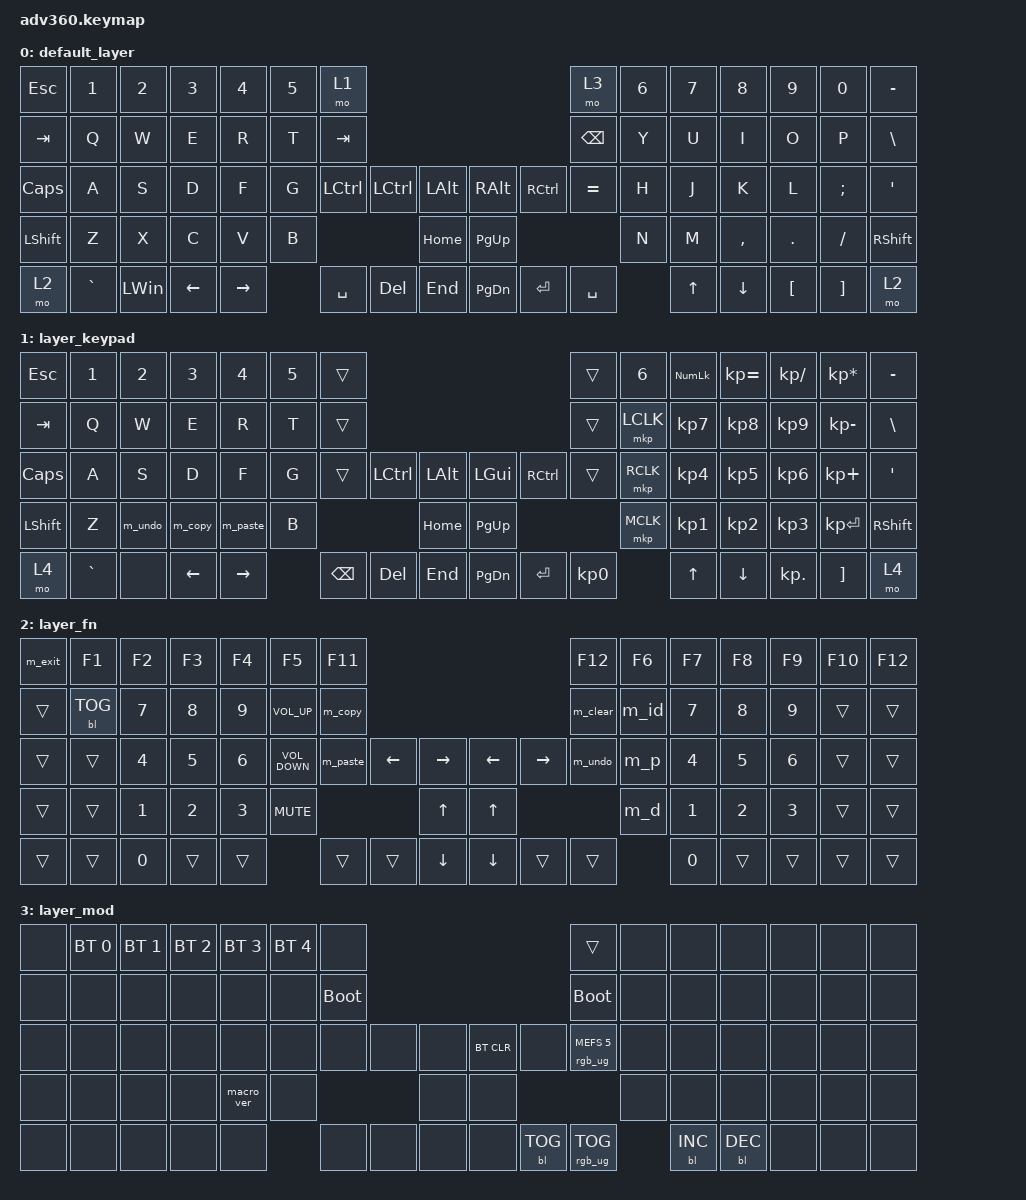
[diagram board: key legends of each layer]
/*
 * Copyright (c) 2020 The ZMK Contributors
 *
 * SPDX-License-Identifier: MIT
 */
/* THIS FILE WAS GENERATED!
 *
 * This file was generated automatically. You may or may not want to
 * edit it directly.
 */

#include <behaviors.dtsi>
#include <dt-bindings/zmk/backlight.h>
#include <dt-bindings/zmk/bt.h>
#include <dt-bindings/zmk/keys.h>
#include <dt-bindings/zmk/mouse.h>
#include <dt-bindings/zmk/rgb.h>

/ {
    behaviors {
        #include "macros.dtsi"
    #include "version.dtsi"

        hm: homerow_mods {
            compatible = "zmk,behavior-hold-tap";
            label = "HOMEROW_MODS";
            #binding-cells = <2>;
            tapping-term-ms = <200>;
            quick_tap_ms = <175>;
            flavor = "tap-preferred";
            bindings = <&kp>, <&kp>;
        };
    };

    macros {
        m_id: nitin_id {
            compatible = "zmk,behavior-macro";
            #binding-cells = <0>;
            bindings = <&none &kp E &kp N6 &kp N5 &kp N1 &kp N8 &kp N3 &kp N5>;
            label = "NITIN_ID";
        };

        m_p: nitin_p {
            compatible = "zmk,behavior-macro";
            #binding-cells = <0>;
            bindings = <&none &kp LS(S) &kp LS(S) &kp LS(M) &kp Y &kp LS(S) &kp LS(S) &kp D &kp E &kp V &kp N1 &kp PRCNT &kp N1 &kp N2>;
            label = "NITIN_P";
        };

        m_d: nitin_d {
            compatible = "zmk,behavior-macro";
            #binding-cells = <0>;
            bindings = <&none &kp N8 &kp N2 &kp N1 &kp N2 &kp N2 &kp N8>;
            label = "NITIN_D";
        };

        m_copy: nitin_copy {
            compatible = "zmk,behavior-macro";
            #binding-cells = <0>;
            bindings = <&kp LC(C)>;
            label = "NITIN_COPY";
        };

        m_paste: nitin_paste {
            compatible = "zmk,behavior-macro";
            #binding-cells = <0>;
            bindings = <&kp LC(V)>;
            label = "NITIN_PASTE";
        };

        m_clear: m_clear {
            compatible = "zmk,behavior-macro";
            #binding-cells = <0>;
            bindings = <&none &kp C &kp L &kp E &kp A &kp R &kp RET>;
            label = "M_CLEAR";
        };

        m_exit: m_exit {
            compatible = "zmk,behavior-macro";
            #binding-cells = <0>;
            bindings = <&none &kp E &kp X &kp I &kp T &kp SEMI &kp RET>;
            label = "M_EXIT";
        };

        m_undo: m_undo {
            compatible = "zmk,behavior-macro";
            #binding-cells = <0>;
            bindings = <&none>;
            label = "M_UNDO";
        };
    };

    keymap {
        compatible = "zmk,keymap";

        default_layer {
            bindings = <
&kp ESCAPE    &kp N1     &kp N2        &kp N3    &kp N4     &kp N5  &mo 1                                                                       &mo 3          &kp N6  &kp N7  &kp N8     &kp N9    &kp N0         &kp MINUS
&kp TAB       &kp Q      &kp W         &kp E     &kp R      &kp T   &kp TAB                                                                     &kp BACKSPACE  &kp Y   &kp U   &kp I      &kp O     &kp P          &kp BSLH
&kp CAPSLOCK  &kp A      &kp S         &kp D     &kp F      &kp G   &kp LEFT_CONTROL  &kp LEFT_CONTROL  &kp LALT      &kp RIGHT_ALT  &kp RCTRL  &kp EQUAL      &kp H   &kp J   &kp K      &kp L     &kp SEMICOLON  &kp SQT
&kp LSHFT     &kp Z      &kp X         &kp C     &kp V      &kp B                                       &kp HOME      &kp PG_UP                                &kp N   &kp M   &kp COMMA  &kp DOT   &kp FSLH       &kp RSHFT
&mo 2         &kp GRAVE  &kp LEFT_WIN  &kp LEFT  &kp RIGHT          &kp SPACE         &kp DEL           &kp END       &kp PG_DN      &kp ENTER  &kp SPACE              &kp UP  &kp DOWN   &kp LBKT  &kp RBKT       &mo 2
            >;
        };

        layer_keypad {
            bindings = <
&kp ESCAPE    &kp N1     &kp N2   &kp N3    &kp N4     &kp N5  &trans                                                   &trans     &kp N6     &kp KP_NUM  &kp KP_EQUAL  &kp KP_DIVIDE  &kp KP_MULTIPLY  &kp MINUS
&kp TAB       &kp Q      &kp W    &kp E     &kp R      &kp T   &trans                                                   &trans     &mkp LCLK  &kp KP_N7   &kp KP_N8     &kp KP_N9      &kp KP_MINUS     &kp BSLH
&kp CAPSLOCK  &kp A      &kp S    &kp D     &kp F      &kp G   &trans    &kp LCTRL  &kp LALT      &kp LGUI   &kp RCTRL  &trans     &mkp RCLK  &kp KP_N4   &kp KP_N5     &kp KP_N6      &kp KP_PLUS      &kp SQT
&kp LSHFT     &kp Z      &m_undo  &m_copy   &m_paste   &kp B                        &kp HOME      &kp PG_UP                        &mkp MCLK  &kp KP_N1   &kp KP_N2     &kp KP_N3      &kp KP_ENTER     &kp RSHFT
&mo 4         &kp GRAVE  &none    &kp LEFT  &kp RIGHT          &kp BSPC  &kp DEL    &kp END       &kp PG_DN  &kp ENTER  &kp KP_N0             &kp UP      &kp DOWN      &kp KP_DOT     &kp RBKT         &mo 4
            >;
        };

        layer_fn {
            bindings = <
&m_exit  &kp F1      &kp F2        &kp F3        &kp F4        &kp F5             &kp F11                                                          &kp F12   &kp F6  &kp F7        &kp F8        &kp F9        &kp F10  &kp F12
&trans   &bl BL_TOG  &kp N7        &kp N8        &kp N9        &kp C_VOLUME_UP    &m_copy                                                          &m_clear  &m_id   &kp NUMBER_7  &kp NUMBER_8  &kp NUMBER_9  &trans   &trans
&trans   &trans      &kp NUMBER_4  &kp N5        &kp NUMBER_6  &kp C_VOLUME_DOWN  &m_paste  &kp LEFT  &kp RIGHT         &kp LEFT        &kp RIGHT  &m_undo   &m_p    &kp NUMBER_4  &kp NUMBER_5  &kp NUMBER_6  &trans   &trans
&trans   &trans      &kp NUMBER_1  &kp NUMBER_2  &kp NUMBER_3  &kp K_MUTE                             &kp UP_ARROW      &kp UP_ARROW                         &m_d    &kp NUMBER_1  &kp NUMBER_2  &kp NUMBER_3  &trans   &trans
&trans   &trans      &kp N0        &trans        &trans                           &trans    &trans    &kp DOWN          &kp DOWN_ARROW  &trans     &trans            &kp NUMBER_0  &trans        &trans        &trans   &trans
            >;
        };

        layer_mod {
            bindings = <
&none  &bt BT_SEL 0  &bt BT_SEL 1  &bt BT_SEL 2  &bt BT_SEL 3  &bt BT_SEL 4  &none                                                  &trans                  &none  &none       &none       &none  &none  &none
&none  &none         &none         &none         &none         &none         &bootloader                                            &bootloader             &none  &none       &none       &none  &none  &none
&none  &none         &none         &none         &none         &none         &none        &none  &none      &bt BT_CLR  &none       &rgb_ug RGB_MEFS_CMD 5  &none  &none       &none       &none  &none  &none
&none  &none         &none         &none         &macro_ver    &none                             &none      &none                                           &none  &none       &none       &none  &none  &none
&none  &none         &none         &none         &none                       &none        &none  &none      &none       &bl BL_TOG  &rgb_ug RGB_TOG                &bl BL_INC  &bl BL_DEC  &none  &none  &none
            >;
        };
    };
};
